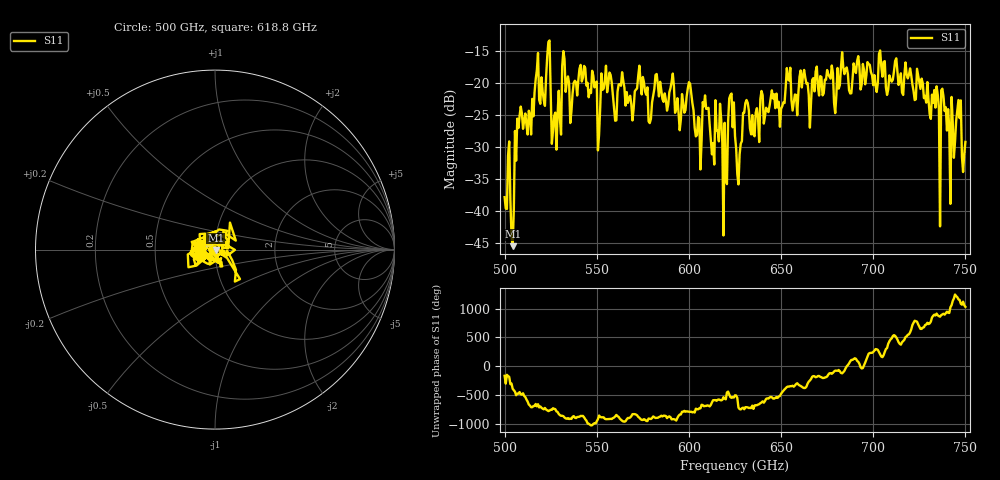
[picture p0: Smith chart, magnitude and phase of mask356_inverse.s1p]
!Created with skrf (http://scikit-rf.org).
# GHz S MA R 50.0
!freq magS11 angS11
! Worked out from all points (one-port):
!   401 points, 500 GHz to 750 GHz, reference 50 ohm
!   lowest |S11| = -45.5 dB at 504.4 GHz (marker M1), VSWR 1.01, Z = 50.5 - j0.277 ohm
!   |S11| at or under -10 dB: start of sweep to end of sweep
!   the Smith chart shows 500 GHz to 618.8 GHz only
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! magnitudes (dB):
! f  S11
! 500 GHz  -37.8
! 504.4 GHz  -45.5
! 508.1 GHz  -25.1
! 523.8 GHz  -13.6
! 526.9 GHz  -25.1
! 531.2 GHz  -17.3
! 548.8 GHz  -20.7
! 550.6 GHz  -30.5
! 562.5 GHz  -20.2
! 593.8 GHz  -22.4
! 600 GHz  -19.9
! 605.6 GHz  -25.6
! 609.4 GHz  -24.0
! 612.5 GHz  -31.1
! 616.9 GHz  -23.2
! 619.4 GHz  -26.2
! 623.1 GHz  -21.6
! 625 GHz  -28.3
! 626.9 GHz  -35.8
! 630.6 GHz  -23.1
! 656.2 GHz  -24.3
! 687.5 GHz  -21.6
! 718.8 GHz  -19.3
! 735 GHz  -21.8
! 738.1 GHz  -22.1
! 743.1 GHz  -26.1
! 746.2 GHz  -22.6
! 750 GHz  -29.2
